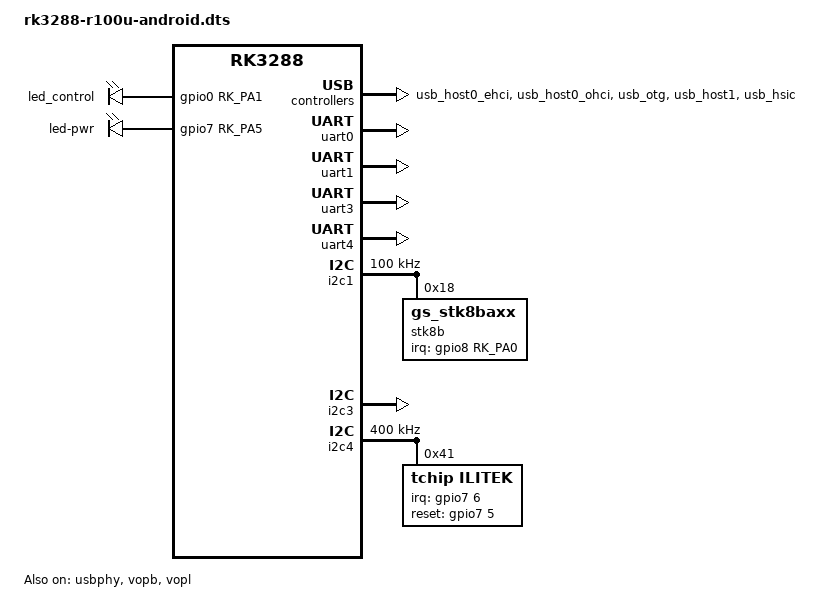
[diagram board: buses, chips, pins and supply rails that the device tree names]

/dts-v1/;
#include "rk3288-r100u-def.dtsi"

// #include "rk3288-r100u-edp-10p1inch-1920x1080.dtsi"
// #include "rk3288-r100u-edp-15p6inch-1920x1080.dtsi"
// #include "rk3288-r100u-lvds-21p5inch-1920x1080.dtsi"
// #include "rk3288-r100u-mipi-10inch-1920x1080.dtsi"
// #include "rk3288-r100u-mipi-8inch-800x1280.dtsi"
// #include "rk3288-r100u-mipi-ccccc-8inch-800x1280.dtsi"
#include "rk3288-r100u-mipi_to_edp.dtsi"

/ {
	compatible = "rockchip,rk3288-evb-android-rk808-edp", "rockchip,rk3288";
   /** start : default system power-key -----------------------------------------------*/
    rk_key: rockchip-key {
    		compatible = "rockchip,key";
    		status = "okay";
    		power-key {
    			gpios = <&gpio0 5 GPIO_ACTIVE_LOW>;      // system default power key port
    			linux,code = <116>;
    			pinctrl-names = "default";
    			pinctrl-0 = <&pwrbtn>;
    			label = "power";
    			gpio-key,wakeup;
    		};
    	};
    /** end : default system power-key -----------------------------------------------*/
    leds {
        compatible = "gpio-leds";
        status = "okay";
        led0:led-control {
            label = "led_control";
            gpios = <&gpio0 RK_PA1 GPIO_ACTIVE_HIGH>;			// change trigger mode to timer, suitable reboot test requirement. default on.
            default-state = "on";
            linux,default-trigger = "timer";
            // no paramter for default led status is on
        };
         led1:led-pwr {
            label = "led-pwr";
	    gpios = <&gpio7 RK_PA5 GPIO_ACTIVE_HIGH>;			// led red
            default-state = "on";
        };
    };
};

&usbphy {
	status = "okay";
};

&usb_host0_ehci {
	rockchip-relinquish-port;
	status = "okay";
};

&usb_host0_ohci {
	status = "okay";
};

&usb_otg {
	status = "okay";
};

// for kernel driver camera part
// &isp {
//     status = "disabled";
//     camera_power = <&gpio0 RK_PC1 GPIO_ACTIVE_HIGH>;
// };

/** start usb host mode set ------------------------------------------------------*/
&usb_host1 {
	status = "okay";
};

&usb_hsic {
    status = "okay";
};

/** end usb host mode set --------------------------------------------------------*/

&vopb {
	status = "okay";
};

&vopb_mmu {
	status = "okay";
};

&vopl {
	status = "okay";
};

&vopl_mmu {
	status = "okay";
};

&uart0 {
	pinctrl-names = "default";
	pinctrl-0 = <&uart0_xfer &uart0_cts>;
	status = "okay";
};

&uart1 {
    status = "okay";
};

&uart2 {
	status = "disabled";
};

&uart3 {
    status = "okay";
    // rs485-ctrl-gpio = <&gpio7 RK_PC0 GPIO_ACTIVE_HIGH>;
};

&uart4 {
    status = "okay";
};

&i2c1 {
	status = "okay";
	clock-frequency = <100000>; // decode chip i2c speed max 100KHz
    
	stk8b@18 {
		compatible = "gs_stk8baxx";
		status = "okay";
		reg = <0x18>;
        type = <SENSOR_TYPE_ACCEL>;
        irq-gpio = <&gpio8 RK_PA0 GPIO_ACTIVE_HIGH>;
        irq_enable = <0>;
        poll_delay_ms = <30>;
        layout = <7>;
	};
};

&i2c3 {
	status = "okay";
};

&i2c4 {
	status = "okay";
	clock-frequency = <400000>;
    
	ilitek@41 {
        compatible = "tchip,ilitek";
        reg = <0x41>;
        screen_max_x = <1080>;
        screen_max_y = <1920>;
        ilitek,irq-gpio = <&gpio7 6 IRQ_TYPE_LEVEL_LOW>;
        ilitek,reset-gpio = <&gpio7 5 GPIO_ACTIVE_HIGH>;
    };
};

&pinctrl {
    buttons {
		pwrbtn: pwrbtn {
			rockchip,pins = <0 5 RK_FUNC_GPIO &pcfg_pull_up>;
		};
	};
};
